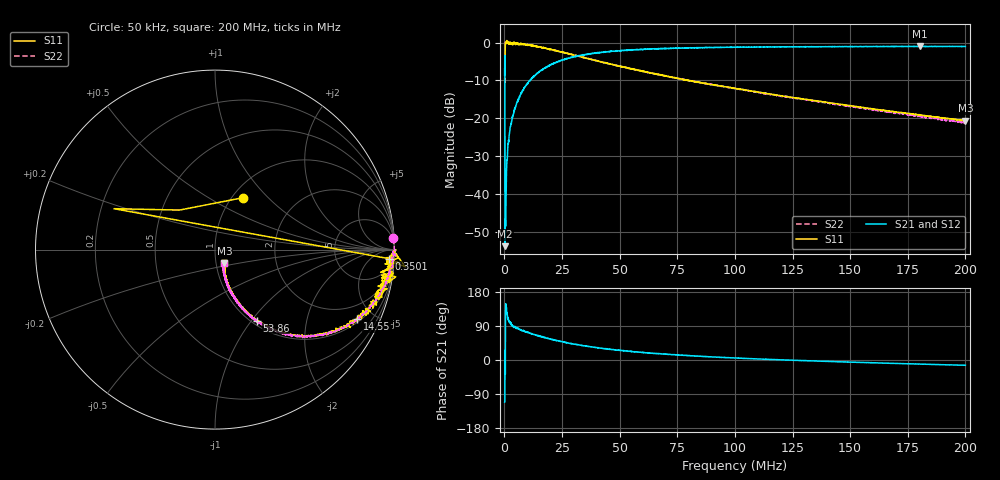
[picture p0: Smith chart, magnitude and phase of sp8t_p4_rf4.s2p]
! 26-Feb-26 11:53:06 AM
! E:\VNA_MEASUREMENTS\SP8T\SP8T_P4_RF4.S2P
! CHANNEL.1
! TR.MEASUREMENT
! CORRECTED.DATA
# GHZ S RI R 50.0
! FREQ.GHZ  S11RE  S11IM  S21RE  S21IM  S12RE  S12IM  S22RE  S22IM
!; PortSelection: Port_12
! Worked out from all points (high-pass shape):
!   2000 points, 50 kHz to 200 MHz, reference 50 ohm
!   highest |S21| = -0.97 dB at 180.3 MHz (marker M1); lowest = -53.8 dB at 250 kHz (marker M2)
!   |S21| within 3 dB of the highest: 138.4 kHz to 151.2 kHz (12.87 kHz wide, 8.89 % of centre); 28.5 MHz to end of sweep
!   lowest |S11| = -20.7 dB at 200 MHz (marker M3), VSWR 1.20, Z = 54.9 - j8.41 ohm
!   |S11| at or under -10 dB: 89.52 kHz to 159.2 kHz (69.66 kHz wide, 56 % of centre); 79.5084 MHz to 79.64326 MHz (134.9 kHz wide, 0.169 % of centre); 79.91 MHz to end of sweep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
!   |S22| runs from -21.3 to 0.1 dB; largest |S21 - S12| = 0.68
!   S11 on the Smith chart (normalised r, x): 50 kHz: 1.13, +0.73; 350.1 kHz: 17, -29; 14.55 MHz: 1.16, -4.01; 53.86 MHz: 1.06, -1.06; 200 MHz: 1.10, -0.17
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5e-05  0.1585 0.2896  -0.1338 -0.3469  -0.00687 0.0023  0.9937 0.0642
0.00025005  -0.563 0.2279  0.00183 0.000908  -0.00072 0.00135  1.005 -0.00555
0.000350075  0.9691 -0.0503  0.00363 -0.00285  -0.00181 0.00886  0.9935 -0.0168
0.00105025  1.001 -0.015  -0.0161 0.0228  -0.00359 0.0269  0.9966 -0.0392
0.0012503  0.9721 -0.0494  -0.014 0.027  -0.00325 0.0313  0.9929 -0.0582
0.001350325  1.006 -0.0694  -0.0145 0.0333  -0.00355 0.036  0.9949 -0.0584
0.001750425  0.9894 -0.0522  -0.0134 0.0497  -0.00453 0.0479  0.9903 -0.0637
0.0020505  0.9564 -0.0615  -0.0104 0.0593  -0.00429 0.057  0.9869 -0.0768
0.002950725  0.9466 -0.0799  -0.00373 0.084  -0.00202 0.0838  0.9827 -0.1031
0.004151026  1.007 -0.1524  0.00735 0.1265  0.00708 0.1236  0.969 -0.1392
0.006051501  0.9414 -0.1867  0.0261 0.1772  0.0236 0.1775  0.9502 -0.1907
0.008252051  0.9067 -0.2284  0.0479 0.2361  0.0525 0.2355  0.9121 -0.2559
0.01455363  0.7915 -0.3869  0.1758 0.3575  0.1746 0.3604  0.7959 -0.3873
0.0232558  0.6014 -0.474  0.358 0.4337  0.3516 0.4333  0.609 -0.4703
0.03345835  0.4336 -0.474  0.5368 0.4211  0.5302 0.4237  0.4305 -0.4804
0.05386346  0.2321 -0.3952  0.7287 0.3083  0.7327 0.3137  0.2322 -0.3958
0.06676668  0.1691 -0.3389  0.7908 0.244  0.7932 0.242  0.1633 -0.3424
0.100075  0.0892 -0.2327  0.8685 0.0775  0.8661 0.0794  0.0864 -0.2347
0.1333833  0.0624 -0.1611  0.8802 -0.0349  0.8785 -0.0344  0.0578 -0.1617
0.1666917  0.0531 -0.1135  0.8796 -0.1352  0.8788 -0.1334  0.0492 -0.113
0.1802951  0.0522 -0.0984  0.8787 -0.168  0.873 -0.1681  0.0478 -0.0984
0.2  0.0529 -0.076  0.8624 -0.2129  0.8605 -0.2148  0.0475 -0.0746
